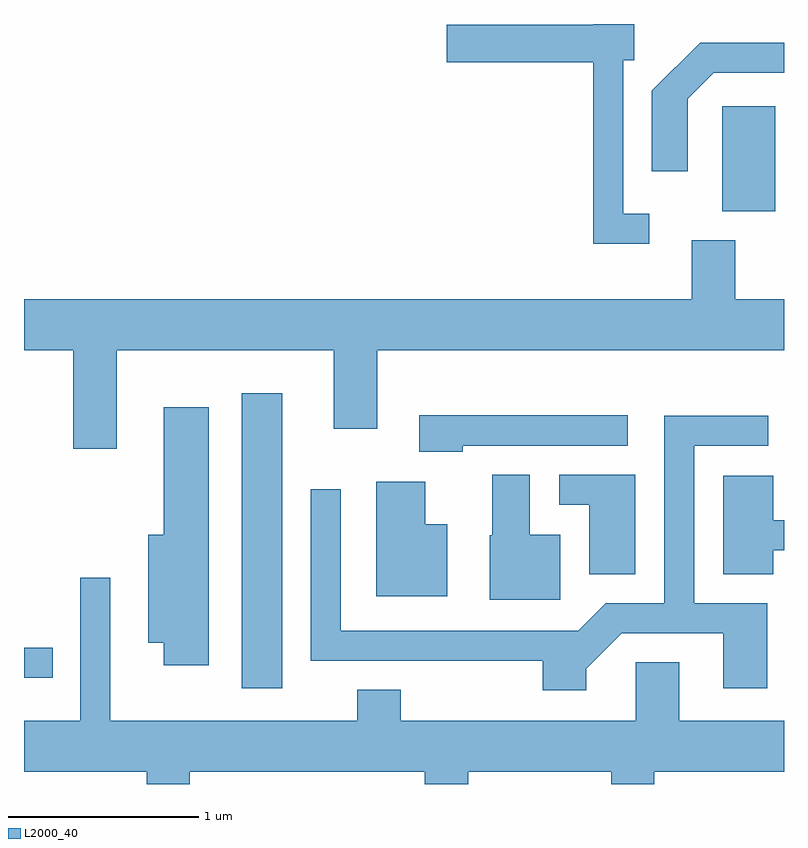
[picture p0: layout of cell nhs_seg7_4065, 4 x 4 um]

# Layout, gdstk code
import gdstk
lib = gdstk.Library(unit=1e-6, precision=1e-09)
def R(c, l, rs):  # rectangles x0, y0, x1, y1
    for r in rs: c.add(gdstk.rectangle(r[:2], r[2:], *l))
def P(c, l, *ps):  # polygons
    for p in ps: c.add(gdstk.Polygon(p, *l))
L2000_40 = (2000, 40)

nhs_seg7_4065 = lib.new_cell('nhs_seg7_4065')
R(nhs_seg7_4065, L2000_40, [(310.756,1714.756,310.969,1716.309), (309.611,1714.811,309.763,1714.969), (313.286,1717.266,313.564,1717.819)])
P(nhs_seg7_4065, L2000_40, [(312.903,1717.254),(312.764,1717.254),(312.764,1718.061),(312.824,1718.061),(312.824,1718.252),(312.606,1718.252),(312.606,1718.249),(311.836,1718.249),(311.836,1718.051),(312.606,1718.051),(312.606,1717.096),(312.903,1717.096)],
  [(313.104,1717.859),(313.242,1717.996),(313.611,1717.996),(313.611,1718.154),(313.169,1718.154),(312.916,1717.902),(312.916,1717.476),(313.104,1717.476)],
  [(310.099,1716.536),(311.241,1716.536),(311.241,1716.121),(311.469,1716.121),(311.469,1716.536),(313.611,1716.536),(313.611,1716.804),(313.354,1716.804),(313.354,1717.114),(313.126,1717.114),(313.126,1716.804),(309.611,1716.804),(309.611,1716.536),(309.871,1716.536),(309.871,1716.016),(310.099,1716.016)],
  [(310.584,1716.234),(310.346,1716.234),(310.346,1715.564),(310.266,1715.564),(310.266,1714.996),(310.346,1714.996),(310.346,1714.876),(310.584,1714.876)],
  [(311.919,1716.031),(312.788,1716.031),(312.788,1716.194),(311.691,1716.194),(311.691,1716.001),(311.919,1716.001)],
  [(312.569,1714.859),(312.757,1715.046),(313.291,1715.046),(313.291,1714.756),(313.524,1714.756),(313.524,1715.204),(313.139,1715.204),(313.139,1716.031),(313.528,1716.031),(313.528,1716.189),(312.981,1716.189),(312.981,1715.204),(312.674,1715.204),(312.529,1715.059),(311.279,1715.059),(311.279,1715.803),(311.121,1715.803),(311.121,1714.901),(312.341,1714.901),(312.341,1714.746),(312.569,1714.746)],
  [(312.434,1715.564),(312.274,1715.564),(312.274,1715.879),(312.076,1715.879),(312.076,1715.56),(312.061,1715.56),(312.061,1715.221),(312.434,1715.221)],
  [(312.829,1715.879),(312.428,1715.879),(312.428,1715.721),(312.586,1715.721),(312.586,1715.356),(312.829,1715.356)],
  [(313.554,1715.481),(313.611,1715.481),(313.611,1715.639),(313.554,1715.639),(313.554,1715.874),(313.291,1715.874),(313.291,1715.356),(313.554,1715.356)],
  [(311.839,1715.619),(311.724,1715.619),(311.724,1715.844),(311.466,1715.844),(311.466,1715.241),(311.839,1715.241)],
  [(310.484,1714.316),(311.721,1714.316),(311.721,1714.252),(311.949,1714.252),(311.949,1714.316),(312.701,1714.316),(312.701,1714.252),(312.929,1714.252),(312.929,1714.316),(313.611,1714.316),(313.611,1714.584),(313.059,1714.584),(313.059,1714.894),(312.831,1714.894),(312.831,1714.584),(311.594,1714.584),(311.594,1714.749),(311.366,1714.749),(311.366,1714.584),(310.064,1714.584),(310.064,1715.338),(309.906,1715.338),(309.906,1714.584),(309.611,1714.584),(309.611,1714.316),(310.256,1714.316),(310.256,1714.252),(310.484,1714.252)])

lib.write_gds('nhs_seg7_4065.gds')
